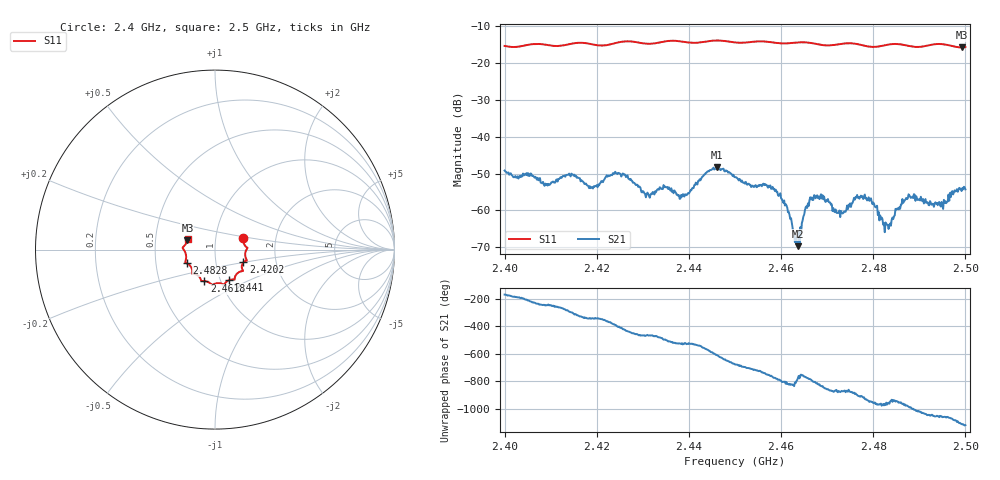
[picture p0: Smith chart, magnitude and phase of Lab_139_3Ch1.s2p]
# Hz S RI R 50
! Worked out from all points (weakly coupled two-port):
!   601 points, 2.4 GHz to 2.5 GHz, reference 50 ohm
!   highest |S21| = -48.31 dB at 2.446 GHz (marker M1); lowest = -69.7 dB at 2.4637 GHz (marker M2)
!   lowest |S11| = -15.8 dB at 2.4993 GHz (marker M3), VSWR 1.39, Z = 36.5 + j3.85 ohm
!   |S11| at or under -10 dB: start of sweep to end of sweep
!   S12 and S22 are empty: the file has one direction only
!   S11 on the Smith chart (normalised r, x): 2.4 GHz: 1.36, +0.18; 2.4202 GHz: 1.36, -0.20; 2.441 GHz: 1.10, -0.39; 2.4618 GHz: 0.84, -0.30; 2.4828 GHz: 0.72, -0.11; 2.5 GHz: 0.73, +0.09
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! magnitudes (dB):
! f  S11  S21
! 2.4 GHz  -15.4  -49.2
! 2.4167 GHz  -14.5  -51.8
! 2.4202 GHz  -15.2  -53.7
! 2.4243 GHz  -14.5  -50.0
! 2.431 GHz  -14.8  -55.2
! 2.4333 GHz  -14.5  -54.2
! 2.4385 GHz  -14.2  -56.3
! 2.441 GHz  -14.6  -54.0
! 2.446 GHz  -13.9  -48.3
! 2.45 GHz  -14.4  -51.0
! 2.4587 GHz  -14.5  -54.7
! 2.4618 GHz  -14.6  -61.2
! 2.4637 GHz  -14.4  -69.7
! 2.4667 GHz  -14.6  -56.5
! 2.473 GHz  -14.9  -60.2
! 2.4785 GHz  -15.4  -56.7
! 2.4828 GHz  -15.1  -63.8
! 2.4833 GHz  -15.0  -65.0
! 2.4875 GHz  -15.3  -56.7
! 2.4947 GHz  -14.9  -58.9
! 2.4993 GHz  -15.8  -54.0
! 2.5 GHz  -15.7  -54.3
